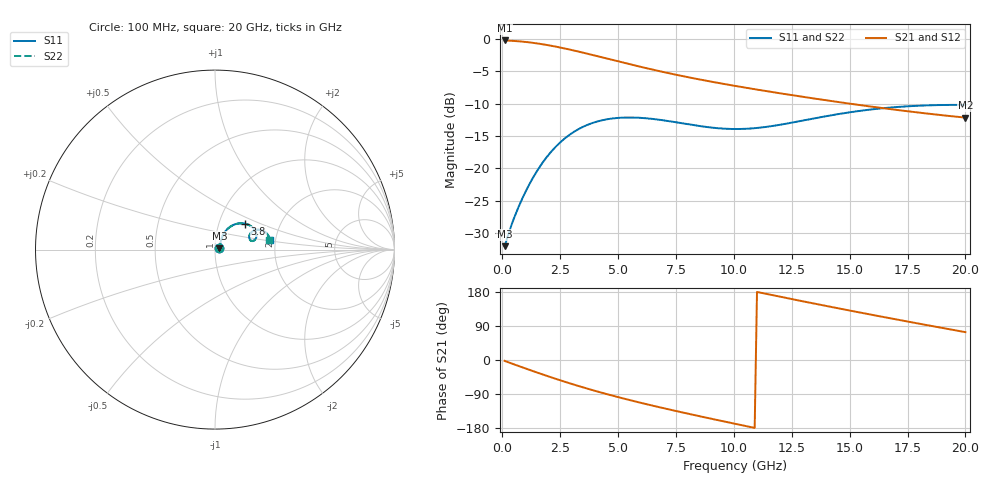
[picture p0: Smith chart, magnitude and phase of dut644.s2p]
! Touchstone file exported from HFSS 2024.1.0
!  File:  C:/UserFiles/LocalFiles/RDL_TSV_Batchsim/temp_RDL_TSV_644_1779807498.aedt
!  Generated:  11:17:22 PM May 26, 2026
!  Design:  RDL_TSV
!  Project:  temp_RDL_TSV_644_1779807498
!  Setup:  Setup1
!  Solution:  Sweep
! Variables:
!  dtsv = 7um
!  hbump = 3um
!  htsv = 86.95um
!  ldown = 677.39um
!  lrdl = 570.76um
!  p = 40
!  p1 = 45.16um
!  rhole = 10um
!  subl = 4315.21um
!  t = 450um
!  tdown = 3.79um
!  trdl = 3.72um
!  viad = 10um
!  wdown = 12.73um
!  wrdl = 27.48um
!  xbump = 18um
# GHz S MA R 50.000000
! Terminal data exported
! Port[1] = TM1_1_T1
! Port[2] = TM1_4_T1
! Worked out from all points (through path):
!   200 points, 100 MHz to 20 GHz, reference 50 ohm
!   highest |S21| = -0.21 dB at 100 MHz (marker M1); lowest = -12.1 dB at 20 GHz (marker M2)
!   group delay of S21, straight-line fit = 38 ps
!   lowest |S11| = -32.0 dB at 100 MHz (marker M3), VSWR 1.05, Z = 52.5 + j0.719 ohm
!   |S11| at or under -10 dB: start of sweep to end of sweep
!   |S22| runs from -32.0 to -10.2 dB; largest |S21 - S12| = 9.2e-15
!   S11 on the Smith chart (normalised r, x): 100 MHz: 1.05, +0.01; 3.8 GHz: 1.33, +0.41; 20 GHz: 1.86, +0.23
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0.1  0.02506 15.8  0.9758 -2.3  0.9758 -2.3  0.02506 15.8
! Gamma 0 0 0 0
! Port Impedance 50 0 50 0
0.4  0.03668 40.7  0.9698 -9.1  0.9698 -9.1  0.03668 40.6
0.8  0.05524 54.4  0.9583 -17.9  0.9583 -17.9  0.05525 54.3
1.2  0.07731 60.0  0.9417 -26.6  0.9417 -26.6  0.07731 59.9
1.6  0.1019 61.1  0.9205 -35.2  0.9205 -35.2  0.1018 61.0
2  0.1276 59.6  0.8956 -43.5  0.8956 -43.5  0.1274 59.4
2.5  0.1589 55.5  0.8607 -53.5  0.8607 -53.5  0.1587 55.3
3  0.1871 50.2  0.8231 -63.2  0.8231 -63.2  0.1867 50.0
3.5  0.2103 44.4  0.7844 -72.5  0.7844 -72.5  0.2097 44.2
3.8  0.2215 40.9  0.7611 -77.8  0.7611 -77.8  0.2208 40.7
4.6  0.2411 32.1  0.7011 -91.5  0.7011 -91.5  0.2403 31.9
5.3  0.2474 25.5  0.6525 -102.7  0.6525 -102.7  0.2465 25.2
6  0.2458 20.1  0.6086 -113.3  0.6086 -113.3  0.2448 19.9
6.8  0.2376 15.7  0.5642 -124.9  0.5642 -124.9  0.2365 15.5
8.4  0.2143 13.1  0.492 -146.8  0.492 -146.8  0.2129 12.8
10.1  0.2016 17.8  0.433 -169.0  0.433 -169.0  0.2002 17.7
11.8  0.2146 24.1  0.3858 169.5  0.3858 169.5  0.2131 24.0
13.4  0.2423 26.0  0.3486 149.7  0.3486 149.7  0.2408 26.0
15  0.2715 24.1  0.3168 130.5  0.3168 130.5  0.27 24.1
16.7  0.295 19.9  0.2883 110.7  0.2883 110.7  0.2933 19.8
18.3  0.307 15.2  0.2662 92.5  0.2662 92.5  0.3053 15.1
20  0.3098 10.4  0.2471 73.5  0.2471 73.5  0.308 10.3
